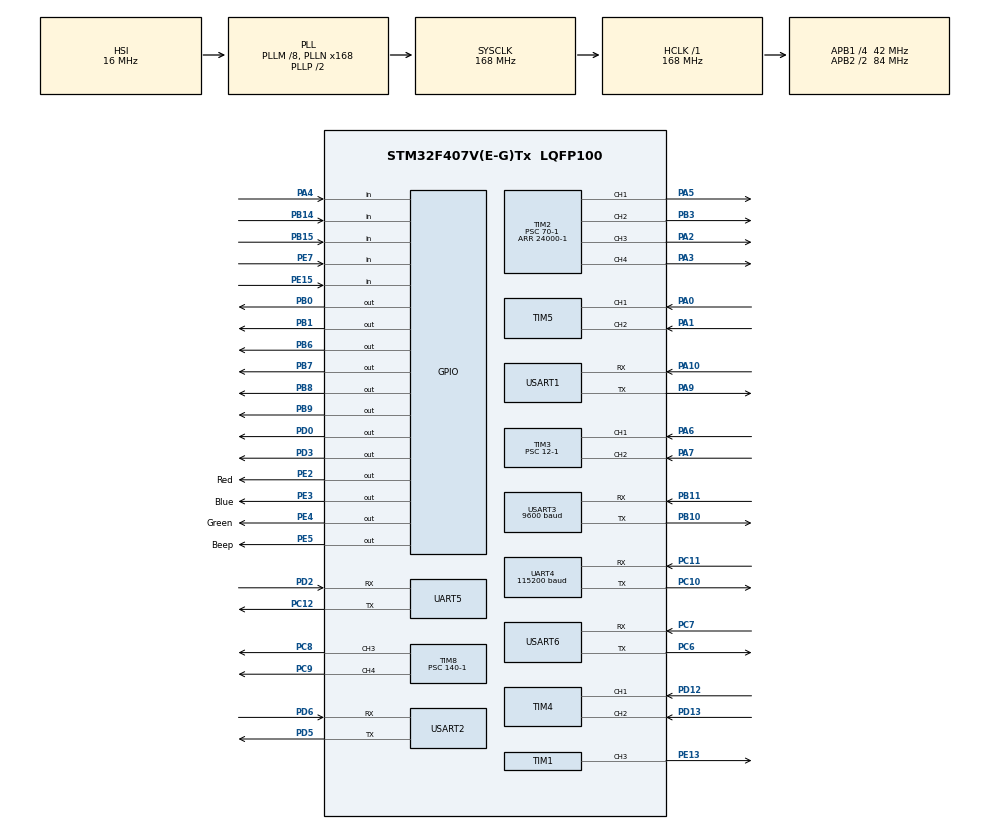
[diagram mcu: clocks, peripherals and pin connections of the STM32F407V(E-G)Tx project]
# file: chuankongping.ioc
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Dma.Request0=TIM2_CH1
Dma.Request1=TIM2_CH2/CH4
Dma.Request2=TIM2_UP/CH3
Dma.Request3=TIM1_CH3
Dma.TIM1_CH3.3.Direction=DMA_MEMORY_TO_PERIPH
Dma.TIM1_CH3.3.FIFOMode=DMA_FIFOMODE_DISABLE
Dma.TIM1_CH3.3.Instance=DMA2_Stream6
Dma.TIM1_CH3.3.MemDataAlignment=DMA_MDATAALIGN_WORD
Dma.TIM1_CH3.3.MemInc=DMA_MINC_ENABLE
Dma.TIM1_CH3.3.Mode=DMA_NORMAL
Dma.TIM1_CH3.3.PeriphDataAlignment=DMA_PDATAALIGN_WORD
Dma.TIM1_CH3.3.PeriphInc=DMA_PINC_DISABLE
Dma.TIM1_CH3.3.Priority=DMA_PRIORITY_MEDIUM
Dma.TIM2_CH1.0.Direction=DMA_MEMORY_TO_PERIPH
Dma.TIM2_CH1.0.FIFOMode=DMA_FIFOMODE_DISABLE
Dma.TIM2_CH1.0.Instance=DMA1_Stream5
Dma.TIM2_CH1.0.MemDataAlignment=DMA_MDATAALIGN_WORD
Dma.TIM2_CH1.0.MemInc=DMA_MINC_ENABLE
Dma.TIM2_CH1.0.Mode=DMA_NORMAL
Dma.TIM2_CH1.0.PeriphDataAlignment=DMA_PDATAALIGN_WORD
Dma.TIM2_CH1.0.PeriphInc=DMA_PINC_DISABLE
Dma.TIM2_CH1.0.Priority=DMA_PRIORITY_MEDIUM
Dma.TIM2_CH2/CH4.1.Direction=DMA_MEMORY_TO_PERIPH
Dma.TIM2_CH2/CH4.1.FIFOMode=DMA_FIFOMODE_DISABLE
Dma.TIM2_CH2/CH4.1.Instance=DMA1_Stream6
Dma.TIM2_CH2/CH4.1.MemDataAlignment=DMA_MDATAALIGN_WORD
Dma.TIM2_CH2/CH4.1.MemInc=DMA_MINC_ENABLE
Dma.TIM2_CH2/CH4.1.Mode=DMA_NORMAL
Dma.TIM2_CH2/CH4.1.PeriphDataAlignment=DMA_PDATAALIGN_WORD
Dma.TIM2_CH2/CH4.1.PeriphInc=DMA_PINC_DISABLE
Dma.TIM2_CH2/CH4.1.Priority=DMA_PRIORITY_MEDIUM
Dma.TIM2_UP/CH3.2.Direction=DMA_MEMORY_TO_PERIPH
Dma.TIM2_UP/CH3.2.FIFOMode=DMA_FIFOMODE_DISABLE
Dma.TIM2_UP/CH3.2.Instance=DMA1_Stream1
Dma.TIM2_UP/CH3.2.MemDataAlignment=DMA_MDATAALIGN_WORD
Dma.TIM2_UP/CH3.2.MemInc=DMA_MINC_ENABLE
Dma.TIM2_UP/CH3.2.Mode=DMA_NORMAL
Dma.TIM2_UP/CH3.2.PeriphDataAlignment=DMA_PDATAALIGN_WORD
Dma.TIM2_UP/CH3.2.PeriphInc=DMA_PINC_DISABLE
Dma.TIM2_UP/CH3.2.Priority=DMA_PRIORITY_MEDIUM
Mcu.Family=STM32F4
Mcu.Name=STM32F407V(E-G)Tx
Mcu.Package=LQFP100
NVIC.DMA1_Stream1_IRQn=true\:0\:0\:false\:false\:true\:false\:true\:true
NVIC.DMA1_Stream5_IRQn=true\:0\:0\:false\:false\:true\:false\:true\:true
NVIC.DMA1_Stream6_IRQn=true\:0\:0\:false\:false\:true\:false\:true\:true
NVIC.DMA2_Stream6_IRQn=true\:0\:0\:false\:false\:true\:false\:true\:true
NVIC.PriorityGroup=NVIC_PRIORITYGROUP_4
NVIC.TIM1_BRK_TIM9_IRQn=true\:0\:0\:false\:false\:true\:true\:true\:true
NVIC.TIM7_IRQn=true\:0\:0\:false\:false\:true\:true\:true\:true
NVIC.UART4_IRQn=true\:0\:0\:false\:false\:true\:true\:true\:true
NVIC.UART5_IRQn=true\:0\:0\:false\:false\:true\:true\:true\:true
NVIC.USART1_IRQn=true\:0\:0\:false\:false\:true\:true\:true\:true
NVIC.USART2_IRQn=true\:0\:0\:false\:false\:true\:true\:true\:true
NVIC.USART3_IRQn=true\:0\:0\:false\:false\:true\:true\:true\:true
NVIC.USART6_IRQn=true\:0\:0\:false\:false\:true\:true\:true\:true
PA0-WKUP.Signal=S_TIM5_CH1
PA1.Signal=S_TIM5_CH2
PA10.Mode=Asynchronous
PA10.Signal=USART1_RX
PA13.Mode=Serial_Wire
PA13.Signal=SYS_JTMS-SWDIO
PA14.Mode=Serial_Wire
PA14.Signal=SYS_JTCK-SWCLK
PA2.Signal=S_TIM2_CH3
PA3.Signal=S_TIM2_CH4
PA4.GPIO_Mode=GPIO_MODE_INPUT
PA4.GPIO_PuPd=GPIO_PULLDOWN
PA4.Signal=GPIO_Input
PA5.Signal=S_TIM2_CH1_ETR
PA6.Signal=S_TIM3_CH1
PA7.Signal=S_TIM3_CH2
PA9.Mode=Asynchronous
PA9.Signal=USART1_TX
PB0.PinState=GPIO_PIN_RESET
PB0.Signal=GPIO_Output
PB1.PinState=GPIO_PIN_RESET
PB1.Signal=GPIO_Output
PB10.Mode=Asynchronous
PB10.Signal=USART3_TX
PB11.Mode=Asynchronous
PB11.Signal=USART3_RX
PB14.GPIO_Mode=GPIO_MODE_INPUT
PB14.GPIO_PuPd=GPIO_PULLDOWN
PB14.Signal=GPIO_Input
PB15.GPIO_Mode=GPIO_MODE_INPUT
PB15.GPIO_PuPd=GPIO_PULLDOWN
PB15.Signal=GPIO_Input
PB3.Signal=S_TIM2_CH2
PB6.PinState=GPIO_PIN_RESET
PB6.Signal=GPIO_Output
PB7.PinState=GPIO_PIN_RESET
PB7.Signal=GPIO_Output
PB8.GPIO_ModeDefaultOutputPP=GPIO_MODE_OUTPUT_OD
PB8.GPIO_PuPd=GPIO_PULLUP
PB8.GPIO_Speed=GPIO_SPEED_FREQ_HIGH
PB8.PinState=GPIO_PIN_SET
PB8.Signal=GPIO_Output
PB9.GPIO_ModeDefaultOutputPP=GPIO_MODE_OUTPUT_OD
PB9.GPIO_PuPd=GPIO_PULLUP
PB9.GPIO_Speed=GPIO_SPEED_FREQ_HIGH
PB9.PinState=GPIO_PIN_SET
PB9.Signal=GPIO_Output
PC10.Mode=Asynchronous
PC10.Signal=UART4_TX
PC11.Mode=Asynchronous
PC11.Signal=UART4_RX
PC12.Mode=Asynchronous
PC12.Signal=UART5_TX
PC6.Mode=Asynchronous
PC6.Signal=USART6_TX
PC7.Mode=Asynchronous
PC7.Signal=USART6_RX
PC8.Signal=S_TIM8_CH3
PC9.Signal=S_TIM8_CH4
PD0.PinState=GPIO_PIN_RESET
PD0.Signal=GPIO_Output
PD12.Signal=S_TIM4_CH1
PD13.Signal=S_TIM4_CH2
PD2.Mode=Asynchronous
PD2.Signal=UART5_RX
PD3.GPIO_PuPd=GPIO_PULLDOWN
PD3.Signal=GPIO_Output
PD5.Mode=Asynchronous
PD5.Signal=USART2_TX
PD6.Mode=Asynchronous
PD6.Signal=USART2_RX
PE13.Signal=S_TIM1_CH3
PE15.GPIO_Mode=GPIO_MODE_INPUT
PE15.GPIO_PuPd=GPIO_PULLDOWN
PE15.Signal=GPIO_Input
PE2.GPIO_Label=Red
PE2.GPIO_PuPd=GPIO_NOPULL
PE2.Signal=GPIO_Output
PE3.GPIO_Label=Blue
PE3.GPIO_PuPd=GPIO_NOPULL
PE3.Signal=GPIO_Output
PE4.GPIO_Label=Green
PE4.GPIO_PuPd=GPIO_NOPULL
PE4.PinState=GPIO_PIN_RESET
PE4.Signal=GPIO_Output
PE5.GPIO_Label=Beep
PE5.GPIO_PuPd=GPIO_NOPULL
PE5.Signal=GPIO_Output
PE7.GPIO_Mode=GPIO_MODE_INPUT
PE7.GPIO_PuPd=GPIO_PULLDOWN
PE7.Signal=GPIO_Input
PH0-OSC_IN.Mode=HSE-External-Oscillator
PH0-OSC_IN.Signal=RCC_OSC_IN
PH1-OSC_OUT.Mode=HSE-External-Oscillator
PH1-OSC_OUT.Signal=RCC_OSC_OUT
ProjectManager.HeapSize=0x200
ProjectManager.StackSize=0x400
ProjectManager.TargetToolchain=MDK-ARM V5.32
RCC.48MHZClocksFreq_Value=84000000
RCC.AHBFreq_Value=168000000
RCC.APB1CLKDivider=RCC_HCLK_DIV4
RCC.APB1Freq_Value=42000000
RCC.APB1TimFreq_Value=84000000
RCC.APB2CLKDivider=RCC_HCLK_DIV2
RCC.APB2Freq_Value=84000000
RCC.APB2TimFreq_Value=168000000
RCC.CortexFreq_Value=168000000
RCC.HCLKFreq_Value=168000000
RCC.HSE_VALUE=25000000
RCC.HSI_VALUE=16000000
RCC.LSE_VALUE=32768
RCC.PLLM=8
RCC.PLLN=168
RCC.SYSCLKFreq_VALUE=168000000
RCC.SYSCLKSource=RCC_SYSCLKSOURCE_PLLCLK
RCC.VCOOutputFreq_Value=336000000
SH.S_TIM1_CH3.0=TIM1_CH3,PWM Generation3 CH3
SH.S_TIM2_CH1_ETR.0=TIM2_CH1,PWM Generation1 CH1
SH.S_TIM2_CH2.0=TIM2_CH2,PWM Generation2 CH2
SH.S_TIM2_CH3.0=TIM2_CH3,PWM Generation3 CH3
SH.S_TIM2_CH4.0=TIM2_CH4,PWM Generation4 CH4
SH.S_TIM3_CH1.0=TIM3_CH1,Encoder_Interface
SH.S_TIM3_CH2.0=TIM3_CH2,Encoder_Interface
SH.S_TIM4_CH1.0=TIM4_CH1,Encoder_Interface
SH.S_TIM4_CH2.0=TIM4_CH2,Encoder_Interface
SH.S_TIM5_CH1.0=TIM5_CH1,Encoder_Interface
SH.S_TIM5_CH2.0=TIM5_CH2,Encoder_Interface
SH.S_TIM8_CH3.0=TIM8_CH3,PWM Generation3 CH3
SH.S_TIM8_CH4.0=TIM8_CH4,PWM Generation4 CH4
TIM1.Channel-PWM\ Generation3\ CH3=TIM_CHANNEL_3
TIM1.Period=30-1
TIM1.Prescaler=7-1
TIM2.AutoReloadPreload=TIM_AUTORELOAD_PRELOAD_ENABLE
TIM2.Channel-PWM\ Generation1\ CH1=TIM_CHANNEL_1
TIM2.Channel-PWM\ Generation2\ CH2=TIM_CHANNEL_2
TIM2.Channel-PWM\ Generation3\ CH3=TIM_CHANNEL_3
TIM2.Channel-PWM\ Generation4\ CH4=TIM_CHANNEL_4
TIM2.Period=24000-1
TIM2.Prescaler=70-1
TIM3.Period=1400-1
TIM3.Prescaler=12-1
TIM7.Period=10000-1
TIM7.Prescaler=8400-1
TIM8.AutoReloadPreload=TIM_AUTORELOAD_PRELOAD_ENABLE
TIM8.Channel-PWM\ Generation3\ CH3=TIM_CHANNEL_3
TIM8.Channel-PWM\ Generation4\ CH4=TIM_CHANNEL_4
TIM8.Period=24000-1
TIM8.Prescaler=140-1
TIM9.Period=200-1
TIM9.Prescaler=16800-1
UART4.BaudRate=115200
UART4.VirtualMode=Asynchronous
UART5.VirtualMode=Asynchronous
USART1.VirtualMode=VM_ASYNC
USART2.VirtualMode=VM_ASYNC
USART3.BaudRate=9600
USART3.VirtualMode=VM_ASYNC
USART6.VirtualMode=VM_ASYNC
VP_TIM12_VS_ClockSourceINT.Mode=Internal
VP_TIM1_VS_ClockSourceINT.Mode=Internal
VP_TIM2_VS_ClockSourceINT.Mode=Internal
VP_TIM7_VS_ClockSourceINT.Mode=Enable_Timer
VP_TIM8_VS_ClockSourceINT.Mode=Internal
VP_TIM9_VS_ClockSourceINT.Mode=Internal
board=custom

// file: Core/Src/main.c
/* USER CODE BEGIN Header */
/**
  ******************************************************************************
  * @file           : main.c
  * @brief          : Main program body
  ******************************************************************************
  * @attention
  *
  * Copyright (c) 2024 STMicroelectronics.
  * All rights reserved.
  *
  * This software is licensed under terms that can be found in the LICENSE file
  * in the root directory of this software component.
  * If no LICENSE file comes with this software, it is provided AS-IS.
  *
  ******************************************************************************
  */
/* USER CODE END Header */
#include "main.h"
#include "dma.h"
#include "tim.h"
#include "usart.h"
#include "gpio.h"

/* USER CODE BEGIN Includes */
#include "OLED.h"
#include <string.h>
#include "sensor.h"
#include "motor.h"
#include "nano.h"
#include "Emm_V5.h"
#include "stdio.h"
#include "stdarg.h"
#include "DataScope_DP.h"
#include "Task.h"
#include "Bujin.h"
#include "RGB.h"
#include "sw_i2c.h"
#include "gw_grayscale_sensor.h"
#include "ring_buffer.h"
#include "usart1.h"
#include "fashion_star_uart_servo.h"
#include "fashion_star_uart_servo_examples.h"
#include "sys_tick.h"
/* USER CODE END Includes */

/* USER CODE BEGIN PV */
extern uint8_t uart2_rxbuff,uart3_rxbuff,uart1_rxbuff,uart4_rxbuff,uart5_rxbuff,uart6_rxbuff;
extern uint8_t chuankouping_progress,shibie_progress;
extern uint8_t task[3];
extern uint8_t shibie_progress;

extern uint8_t mode1,mode2;

 static uint8_t  C1='S',C2='T',C3='O',C4='K',C5='E',C6='N';

extern uint8_t liaopan[4];

extern uint8_t duoji1_angle;

extern float angle[3];

uint8_t b[4]={0x01,0xFD,0X9F,0X6B};

uint8_t a;

uint8_t scan_addr[128];//设备地址
volatile uint8_t count;//iic总线上设备数量
uint8_t digital_data;
uint8_t R=2,G=2,B=2;//RGB模式下为RGB参数 HSL模式下为HSL参数

/* USER CODE END PV */

void SystemClock_Config(void);

int main(void)
{

  /* MCU Configuration--------------------------------------------------------*/

  /* Reset of all peripherals, Initializes the Flash interface and the Systick. */
  HAL_Init();

  /* Configure the system clock */
  SystemClock_Config();

  /* Initialize all configured peripherals */
  MX_GPIO_Init();
  MX_DMA_Init();
  MX_USART2_UART_Init();
  MX_USART3_UART_Init();
  MX_USART1_UART_Init();
  MX_UART4_Init();
  MX_TIM3_Init();
  MX_TIM9_Init();
  MX_TIM7_Init();
  MX_TIM1_Init();
  MX_TIM2_Init();
  MX_UART5_Init();
  MX_USART6_UART_Init();
  MX_TIM4_Init();
  MX_TIM5_Init();
  MX_TIM8_Init();
  MX_TIM12_Init();
  /* USER CODE BEGIN 2 */

  HAL_UART_Receive_IT(&huart2,&uart2_rxbuff,1);
  HAL_UART_Receive_IT(&huart3,&uart3_rxbuff,1);
  HAL_UART_Receive_IT(&huart1,&uart1_rxbuff,1);
  HAL_UART_Receive_IT(&huart4,&uart4_rxbuff,1);
  HAL_UART_Receive_IT(&huart5,&uart5_rxbuff,1);
  HAL_UART_Receive_IT(&huart6,&uart6_rxbuff,1);

//   HAL_TIM_PWM_Start(&htim8,TIM_CHANNEL_3);//PC8

    HAL_TIM_PWM_Start(&htim2,TIM_CHANNEL_3);//PA2
//  HAL_TIM_PWM_Start(&htim2,TIM_CHANNEL_1);//PA5
//  HAL_TIM_PWM_Start(&htim2,TIM_CHANNEL_2);//PB3
//  HAL_TIM_PWM_Start(&htim2,TIM_CHANNEL_4);//PA3
//  HAL_TIM_PWM_Stop_IT(&htim2,TIM_CHANNEL_1);

  /*OLED初始化*/
	OLED_Init();
	OLED_Clear();
	/*调用OLED_Update函数，将OLED显存数组的内容更新到OLED硬件进行显示*/
	OLED_Update();

//   UART_printf(&huart2,"x4.val=%d\xff\xff\xff",1000);
	task_Init();
//	  UART_printf(&huart2,"x4.val=%d\xff\xff\xff",1000);

//      test=FSUS_Ping(&usart2, 3); //通讯测试
//      FSUS_SetServoAngle(&usart2,3,0.0,20,0,0);//简易控制
//		FSUS_SetServoAngleByInterval(&usart2,3,35.0,1500,20,700,0,0);
//	  FSUS_SetServoAngleByInterval(&usart2,3,-145.0,1500,20,700,0,0);

//    FSUS_SetServoAngleByVelocity(&usart2,3,-180,15,50,50,0,1);//加减速控制

/******************************夹爪抖动测试*************************************/
//	duoji_jiazhao(duoji_jiazhao_jiajin);
//	HAL_Delay(2000);
//	duoji_zhedie_slowaction(duoji_zhedie_up);
//	HAL_Delay(2000);
//	duoji_zhedie_slowaction(duoji_zhedie_down);
//	HAL_Delay(2000);

//HAL_Delay(1000);
//	duoji_jiazhao(duoji_jiazhao_songkai);
//	HAL_Delay(200);
//
//	duoji_jiazhao_slowaction(duoji_jiazhao_jiajin);
//
//	HAL_Delay(2000);
//	duoji_jiazhao_slowaction(duoji_jiazhao_songkai);

//	while(1);

	// DWT_Init();

	/* 设置软件IIC驱动 */
	// sw_i2c_interface_t i2c_interface =
	// {
	// 	.sda_in = sda_in,
	// 	.scl_out = scl_out,
	// 	.sda_out = sda_out,
	// 	.user_data = 0, //用户数据，可在输入输出函数里得到
	// };

  /* USER CODE END 2 */

  /* Infinite loop */
  /* USER CODE BEGIN WHILE */

//while(1)
//{
// for(uint8_t i=0;i<3;i++)
//{
//	HAL_UART_Transmit(&huart3, (uint8_t *)&modetwo[i], 1, 1000);
//}
//HAL_Delay(5);
//}
  while (1)
  {
//	  if(flag_saomaqi==1)
//	  {
//		  UART_printf(&huart2,"t2.txt=\"%s\"\xff\xff\xff",paixu);//可以这样发连续的,串口屏显示
//		  flag_saomaqi=0;
//	  }

	 while(tiaoshi_flag==2)//任务模式
	 {
		 if(get_taskflag(1)==1)
		 {
			  task1();
//			 task_Init();
//			 jiguang(0);
//			send_yaw0();
//			HAL_Delay(500);
//			yaw_begin=angle[2];
//
//			duoji_zhedie(duoji_zhedie_down);
//			duoji_jiazhao(duoji_jiazhao_songkai);

//			 send_yaw0();
//		HAL_Delay(500);
//		yaw_begin=angle[2];
//		 HAL_Delay(3000);
//	 angle_tiaozheng(-90);
		 }
		 else if(get_taskflag(2)==1)
		 {
			  task2();
		 }
		 else if(get_taskflag(3)==1)
		 {
			  task3();
		 }
		 else if(get_taskflag(4)==1)
		 {
			  task4();
		 }
		 else if(get_taskflag(5)==1)
		 {
			  qidong_to_yuanliao();
		 }
		 else if(get_taskflag(6)==1)
		 {
			yuanliao_to_cu();
		 }
		 else if(get_taskflag(7)==1)
		 {
			  cu_to_zan(1);
		 }
		 else if(get_taskflag(8)==1)
		 {
			zan_to_yuanliao();
		 }
		 else if(get_taskflag(9)==1)//测试自转角度
		 {
			 task9();
		 }
		 else if(get_taskflag('A')==1)
		 {
			task_yuanliao(1);
		 }
		  else if(get_taskflag('B')==1)
		 {
			task_cujiagong(1);
		 }
		  else if(get_taskflag('C')==1)
		 {
			 task_zancunqu(1);
		 }
		  else if(get_taskflag('D')==1)
		 {
			 task_Init();

		 }
		  else if(get_taskflag('F')==1)
		 {
			 task_all();

		 }

        // sw_i2c_hal_stop(&i2c_interface);
		}
	while(tiaoshi_flag==1)//调试模式
	{
		  OLEDShow_Angle();
//			send_yaw0();
	}

	 // sw_i2c_write_byte(&i2c_interface, 0x4C << 1, GW_GRAY_DIGITAL_MODE);
        // sw_i2c_read_byte(&i2c_interface, 0x4C << 1, &digital_data);
        // R = sw_i2c_hal_read_byte(&i2c_interface, ACK);
        // G = sw_i2c_hal_read_byte(&i2c_interface, ACK);
        // B = sw_i2c_hal_read_byte(&i2c_interface, ACK);

	//夹爪舵机A3,升降云台舵机A5,物料云台B3
//	   while(1);
//	   move_front(200,10,4*3200,0);
//	   while(1);

	  //3200脉冲=247mm，
	  //计算结果为77*3.141=241.857

//	  printf("t2.txt=\"到位OK\"\xff\xff\xff");
//		  UART_printf(&huart2,"t2.txt=\"%s\"\xff\xff\xff",RxBuffer1);//可以这样发连续的
//	  printf("t2.txt=\"%s\"\xff\xff\xff",RxBuffer1);

	  /**********************************示波器Minibalance************************************

//	        DataScope_Get_Channel_Data(encoder_count4, 1 );
//			DataScope_Get_Channel_Data(Target_Velocity, 2 );// Incremental_PI_1

//			uint8_t Send_Count = DataScope_Data_Generate(2);
//			for(uint8_t i = 0 ; i < Send_Count; i++)
//			{
//			while((UART4->SR&0X40)==0);
//			UART4->DR = DataScope_OutPut_Buffer[i];
//			}
//			HAL_Delay(50);

//	       a+=0.1;
//			if(a>3.14)  a=-3.14;
//			DataScope_Get_Channel_Data(500*sin(a), 1 );
//			DataScope_Get_Channel_Data(500* tan(a), 2 );
//			DataScope_Get_Channel_Data( 500*cos(a), 3 );
//			DataScope_Get_Channel_Data( 100*a , 4 );
//			DataScope_Get_Channel_Data(0, 5 );
//			DataScope_Get_Channel_Data(0 , 6 );
//			DataScope_Get_Channel_Data(0, 7 );
//			DataScope_Get_Channel_Data( 0, 8 );
//			DataScope_Get_Channel_Data(0, 9 );
//			DataScope_Get_Channel_Data( 0 , 10);
//			Send_Count = DataScope_Data_Generate(10);
//			for( i = 0 ; i < Send_Count; i++)
//			{
//			while((USART2->SR&0X40)==0);
//			USART2->DR = DataScope_OutPut_Buffer[i];
//			}
//			HAL_Delay(50);
	**********************************示波器Minibalance************************************/

//	  uint8_t a[3]={1,0x02,0x03};
//	   UART_printf(&huart4,"%s",a);//可以这样发连续的
//	  while(1);
	//	  OLEDShow_Angle();
//	  UART_printf(&huart4,"DIFF=\r\n");
//					HAL_UART_Transmit(&huart3, (uint8_t *)&C1, 1, 1000);
//					HAL_UART_Transmit(&huart3, (uint8_t *)&C2, 1, 1000);
//					HAL_UART_Transmit(&huart3, (uint8_t *)&C3, 1, 1000);
//					HAL_UART_Transmit(&huart3, (uint8_t *)&C4, 1, 1000);
//					HAL_UART_Transmit(&huart3, (uint8_t *)&C5, 1, 1000);
//					HAL_UART_Transmit(&huart3, (uint8_t *)&C6, 1, 1000);
    /* USER CODE END WHILE */

    /* USER CODE BEGIN 3 */

//	  printf("page1_3.x0.val=%d\xff\xff\xff",a);
//
//	  a++;
//	  HAL_Delay(1000);

//	 OLEDShow_Angle();
//	 if(memcmp(b,bujin_array1,4)==0)
//	{
//				OLEDShow_Angle();
//	}
//	  a=1;
//	while(a==0); 	a = 0;
//	  OLEDShow_Angle();

//
//////
//HAL_Delay(8000);

//		Emm_V5_Pos_Control(2, 1, 4000, 255, 109081, 0, 1);
//////		while(rxFrameFlag == false); 	rxFrameFlag = false;
//		HAL_Delay(100);
//		Emm_V5_Pos_Control(1, 1, 4000, 255,11454, 0, 1);
//		HAL_Delay(100);
//////		while(rxFrameFlag == false); 	rxFrameFlag = false;
//		HAL_Delay(100);
//		Emm_V5_Synchronous_motion(0x00);
////		while(rxFrameFlag == false); 	rxFrameFlag = false;
////		HAL_Delay(100);
////		while(bujin1_daoweiflag == false||bujin2_daoweiflag == false);bujin1_daoweiflag = false;bujin2_daoweiflag = false;
//		HAL_Delay(500);
//
//
//
//		Emm_V5_Pos_Control(2, 0, 5, 10, 190, 0, true);
////		while(rxFrameFlag == false); 	rxFrameFlag = false;
//		HAL_Delay(100);
//		Emm_V5_Pos_Control(1, 0, 5, 10, 0, 0, true);
////		while(rxFrameFlag == false); 	rxFrameFlag = false;
//		HAL_Delay(100);
//		Emm_V5_Synchronous_motion(0x00);
////		while(rxFrameFlag == false); 	rxFrameFlag = false;
//		HAL_Delay(100);
////	while(bujin1_daoweiflag == false||bujin2_daoweiflag == false);bujin1_daoweiflag = false;bujin2_daoweiflag = false;
//		HAL_Delay(500);
//
//		Emm_V5_Pos_Control(2, 0, 5, 10, 0, 0, true);
////		while(rxFrameFlag == false); 	rxFrameFlag = false;
//		HAL_Delay(100);
//		Emm_V5_Pos_Control(1, 0, 5, 10, 180, 0, true);
////		while(rxFrameFlag == false); 	rxFrameFlag = false;
//		HAL_Delay(100);
//		Emm_V5_Synchronous_motion(0x00);
////		while(rxFrameFlag == false); 	rxFrameFlag = false;
//		HAL_Delay(100);
////		while(bujin1_daoweiflag == false||bujin2_daoweiflag == false);bujin1_daoweiflag = false;bujin2_daoweiflag = false;
//		HAL_Delay(500);
//
//
//		Emm_V5_Pos_Control(2, 1, 7, 10, 175, 0, true);
////		while(rxFrameFlag == false); 	rxFrameFlag = false;
//		HAL_Delay(100);
//		Emm_V5_Pos_Control(1, 1, 5, 10, 0, 0, true);
////		while(rxFrameFlag == false); 	rxFrameFlag = false;
//		HAL_Delay(100);
//		Emm_V5_Synchronous_motion(0x00);
////		while(rxFrameFlag == false); 	rxFrameFlag = false;
//		HAL_Delay(100);
////		while(bujin1_daoweiflag == false||bujin2_daoweiflag == false);bujin1_daoweiflag = false;bujin2_daoweiflag = false;
//		HAL_Delay(500);
////

//		Emm_V5_Pos_Control(2, 1, 1, 10, 10, 0, true);
////		while(rxFrameFlag == false); 	rxFrameFlag = false;
//		HAL_Delay(100);
//		Emm_V5_Pos_Control(1, 1, 5, 10, 180, 0, true);
////		while(rxFrameFlag == false); 	rxFrameFlag = false;
//		HAL_Delay(100);
//		Emm_V5_Synchronous_motion(0x00);
////		while(rxFrameFlag == false); 	rxFrameFlag = false;
//		HAL_Delay(100);
////		while(bujin1_daoweiflag == false||bujin2_daoweiflag == false);bujin1_daoweiflag = false;bujin2_daoweiflag = false;
//		HAL_Delay(1000);

//		 Emm_V5_Origin_Trigger_Return(0x02,0,1);
//		 HAL_Delay(100);
//
//		Emm_V5_Origin_Trigger_Return(0x01,0,1);
//		HAL_Delay(100);
//		Emm_V5_Synchronous_motion(0x00);
//
//
////		Emm_V5_Pos_Control(2, 0, 100, 10, 100, 0, true);
////		while(rxFrameFlag == false); 	rxFrameFlag = false;
////		Emm_V5_Pos_Control(1, 0, 100, 10, 100, 0, true);
////		while(rxFrameFlag == false); 	rxFrameFlag = false;
////		Emm_V5_Synchronous_motion(0x00);
////		while(rxFrameFlag == false); 	rxFrameFlag = false;
////		while(bujin1_daoweiflag == false||bujin2_daoweiflag == false);bujin1_daoweiflag = false;bujin2_daoweiflag = false;

//		while(1);

//		HAL_Delay(1000);
//	  OLED_ShowChar(0,0,task[0],OLED_8X16);
//	  OLED_ShowNum(0,16,duoji1_angle,4,OLED_8X16);
//	  OLED_ShowChar(0,32,task[1],OLED_8X16);
//	  OLED_Update();
  }
  /* USER CODE END 3 */
}

void SystemClock_Config(void)
{
  RCC_OscInitTypeDef RCC_OscInitStruct = {0};
  RCC_ClkInitTypeDef RCC_ClkInitStruct = {0};

  /** Configure the main internal regulator output voltage
  */
  __HAL_RCC_PWR_CLK_ENABLE();
  __HAL_PWR_VOLTAGESCALING_CONFIG(PWR_REGULATOR_VOLTAGE_SCALE1);

  /** Initializes the RCC Oscillators according to the specified parameters
  * in the RCC_OscInitTypeDef structure.
  */
  RCC_OscInitStruct.OscillatorType = RCC_OSCILLATORTYPE_HSI;
  RCC_OscInitStruct.HSIState = RCC_HSI_ON;
  RCC_OscInitStruct.HSICalibrationValue = RCC_HSICALIBRATION_DEFAULT;
  RCC_OscInitStruct.PLL.PLLState = RCC_PLL_ON;
  RCC_OscInitStruct.PLL.PLLSource = RCC_PLLSOURCE_HSI;
  RCC_OscInitStruct.PLL.PLLM = 8;
  RCC_OscInitStruct.PLL.PLLN = 168;
  RCC_OscInitStruct.PLL.PLLP = RCC_PLLP_DIV2;
  RCC_OscInitStruct.PLL.PLLQ = 4;
  if (HAL_RCC_OscConfig(&RCC_OscInitStruct) != HAL_OK)
  {
    Error_Handler();
  }

  /** Initializes the CPU, AHB and APB buses clocks
  */
  RCC_ClkInitStruct.ClockType = RCC_CLOCKTYPE_HCLK|RCC_CLOCKTYPE_SYSCLK
                              |RCC_CLOCKTYPE_PCLK1|RCC_CLOCKTYPE_PCLK2;
  RCC_ClkInitStruct.SYSCLKSource = RCC_SYSCLKSOURCE_PLLCLK;
  RCC_ClkInitStruct.AHBCLKDivider = RCC_SYSCLK_DIV1;
  RCC_ClkInitStruct.APB1CLKDivider = RCC_HCLK_DIV4;
  RCC_ClkInitStruct.APB2CLKDivider = RCC_HCLK_DIV2;

  if (HAL_RCC_ClockConfig(&RCC_ClkInitStruct, FLASH_LATENCY_5) != HAL_OK)
  {
    Error_Handler();
  }
}

void Error_Handler(void)
{
  __disable_irq();
  while (1)
  {
  }
}
